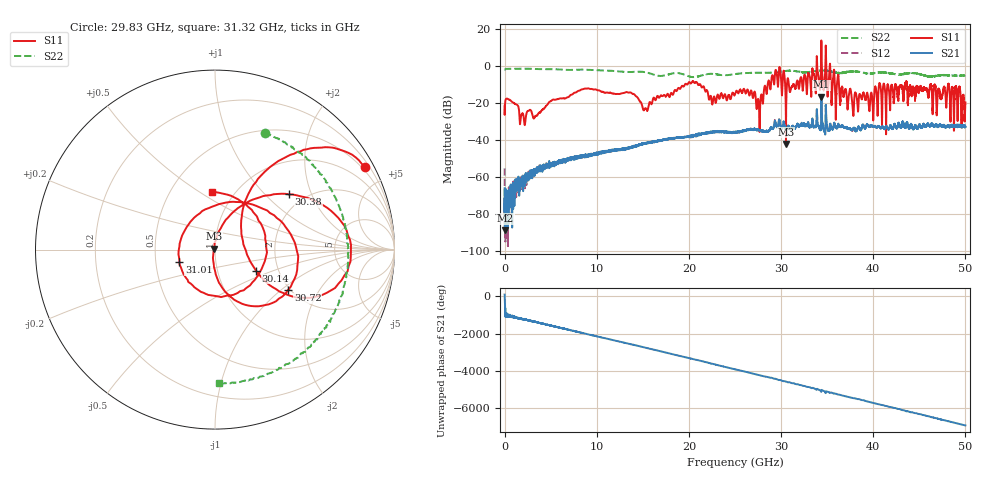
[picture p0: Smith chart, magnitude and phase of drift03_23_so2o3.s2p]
!Created with skrf (http://scikit-rf.org).
# Hz S RI R 50.0
!freq ReS11 ImS11 ReS21 ImS21 ReS12 ImS12 ReS22 ImS22
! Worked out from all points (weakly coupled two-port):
!   10001 points, 300 kHz to 50 GHz, reference 50 ohm
!   highest |S21| = -16.59 dB at 34.37 GHz (marker M1); lowest = -89.0 dB at 90.3 MHz (marker M2)
!   lowest |S11| = -42.2 dB at 30.53 GHz (marker M3), VSWR 1.02, Z = 49.4 + j0.463 ohm
!   |S11| at or under -10 dB: start of sweep to 19.55 GHz; 21.25 GHz to 28.55 GHz (7.297 GHz wide, 29.3 % of centre); 36.28 GHz to 40.63 GHz (4.343 GHz wide, 11.3 % of centre) (the widest 3 of 37)
!   |S22| runs from -5.9 to -1.3 dB; largest |S21 - S12| = 0.027
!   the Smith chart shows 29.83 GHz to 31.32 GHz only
!   S11 on the Smith chart (normalised r, x): 29.83 GHz: 0.37, +3.85; 30.14 GHz: 1.53, -0.39; 30.38 GHz: 1.67, +1.40; 30.72 GHz: 1.96, -1.12; 31.01 GHz: 0.66, -0.09; 31.32 GHz: 0.79, +0.56
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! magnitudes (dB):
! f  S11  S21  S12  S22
! 300 kHz  -21.4  -66.3  -55.5  -2.1
! 90.3 MHz  -18.6  -89.0  -74.1  -1.5
! 3.3 GHz  -27.3  -56.7  -57.0  -1.5
! 8.335 GHz  -12.6  -48.5  -49.3  -1.9
! 15.28 GHz  -22.8  -41.9  -41.7  -3.3
! 16.67 GHz  -16.6  -40.2  -40.4  -5.2
! 20.26 GHz  -9.2  -37.6  -38.0  -5.8
! 22.71 GHz  -16.4  -35.7  -35.5  -4.2
! 25 GHz  -15.3  -36.0  -35.7  -4.2
! 27.53 GHz  -17.9  -34.5  -34.7  -3.5
! 29.83 GHz  -0.4  -29.2  -28.4  -3.0
! 30.14 GHz  -11.8  -33.2  -33.6  -2.8
! 30.38 GHz  -5.8  -32.2  -32.7  -2.7
! 30.53 GHz  -42.2  -34.1  -34.0  -2.6
! 30.72 GHz  -6.6  -32.8  -32.6  -2.5
! 31.01 GHz  -13.6  -34.0  -34.2  -2.4
! 31.32 GHz  -9.9  -32.6  -32.4  -2.5
! 33.34 GHz  -7.3  -31.2  -31.2  -2.9
! 34.37 GHz  14.0  -16.6  -17.6  -2.2
! 37.85 GHz  -26.8  -34.0  -34.3  -2.8
! 41.67 GHz  -11.5  -34.2  -34.2  -3.7
! 50 GHz  -19.6  -33.0  -32.6  -5.0
